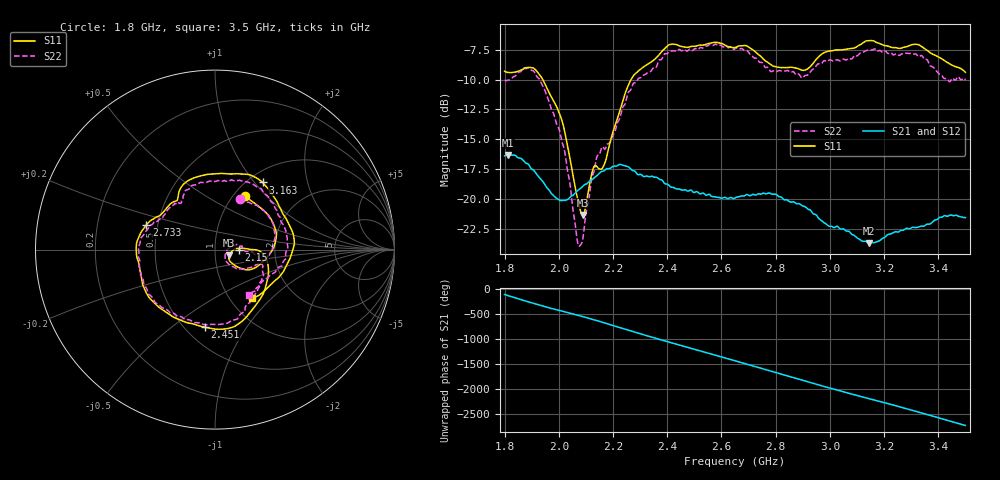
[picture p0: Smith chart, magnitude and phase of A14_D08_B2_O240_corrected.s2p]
! Created with skrf 1.9.0 (http://scikit-rf.org).
# Hz S RI R 50.0
!freq ReS11 ImS11 ReS21 ImS21 ReS12 ImS12 ReS22 ImS22
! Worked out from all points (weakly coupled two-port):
!   1601 points, 1.8 GHz to 3.5 GHz, reference 50 ohm
!   highest |S21| = -16.31 dB at 1.812 GHz (marker M1); lowest = -23.7 dB at 3.143 GHz (marker M2)
!   lowest |S11| = -21.4 dB at 2.088 GHz (marker M3), VSWR 1.19, Z = 58.5 - j3.73 ohm
!   |S11| at or under -10 dB: 1.941 GHz to 2.266 GHz (325.5 MHz wide, 15.5 % of centre)
!   |S22| runs from -24.0 to -7.0 dB; largest |S21 - S12| = 0.003
!   S11 on the Smith chart (normalised r, x): 1.8 GHz: 1.12, +0.76; 2.15 GHz: 1.31, -0.00; 2.451 GHz: 0.62, -0.66; 2.733 GHz: 0.43, +0.14; 3.163 GHz: 1.16, +1.10; 3.5 GHz: 1.26, -0.77
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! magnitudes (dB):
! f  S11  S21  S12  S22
! 1.8 GHz  -9.3  -16.4  -16.4  -10.0
! 1.812 GHz  -9.4  -16.3  -16.3  -10.1
! 1.888 GHz  -9.0  -17.1  -17.2  -9.0
! 1.942 GHz  -10.1  -18.6  -18.6  -10.6
! 2.013 GHz  -13.5  -20.1  -20.1  -15.3
! 2.068 GHz  -19.8  -19.3  -19.4  -23.5
! 2.084 GHz  -21.2  -19.1  -19.0  -23.8
! 2.088 GHz  -21.4  -18.9  -19.0  -23.5
! 2.126 GHz  -17.5  -18.3  -18.3  -18.0
! 2.15 GHz  -17.5  -17.9  -17.9  -16.3
! 2.195 GHz  -14.7  -17.4  -17.3  -14.9
! 2.265 GHz  -10.0  -17.5  -17.5  -10.8
! 2.367 GHz  -8.0  -18.3  -18.2  -8.5
! 2.451 GHz  -7.2  -19.2  -19.2  -7.6
! 2.65 GHz  -7.3  -19.9  -19.9  -7.4
! 2.733 GHz  -7.8  -19.6  -19.6  -8.3
! 2.934 GHz  -8.8  -21.1  -21.1  -9.2
! 3.143 GHz  -6.7  -23.7  -23.6  -7.5
! 3.163 GHz  -6.8  -23.7  -23.7  -7.4
! 3.217 GHz  -7.2  -23.0  -23.0  -7.8
! 3.326 GHz  -7.1  -22.4  -22.3  -8.1
! 3.5 GHz  -9.4  -21.6  -21.6  -10.0
